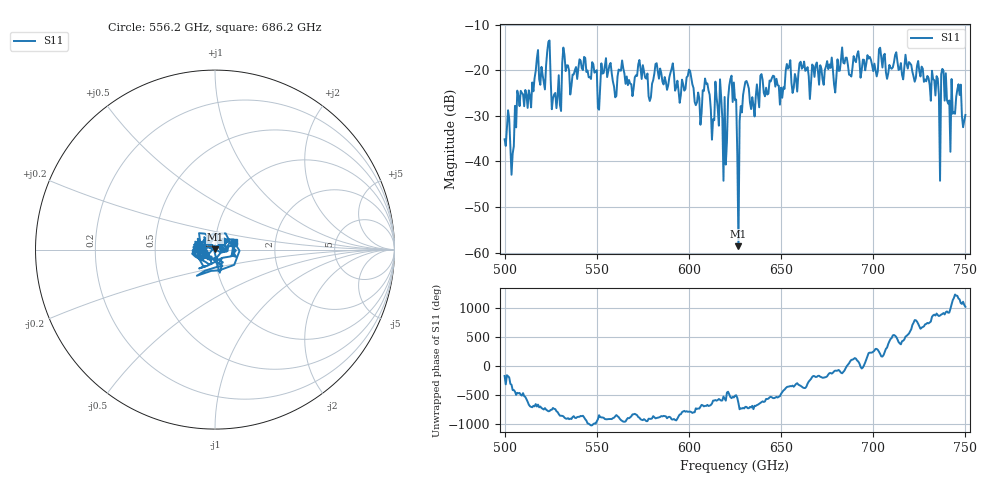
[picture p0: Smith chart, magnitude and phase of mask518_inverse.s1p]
!Created with skrf (http://scikit-rf.org).
# GHz S MA R 50.0
!freq magS11 angS11
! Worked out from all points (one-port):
!   401 points, 500 GHz to 750 GHz, reference 50 ohm
!   lowest |S11| = -58.6 dB at 626.9 GHz (marker M1), VSWR 1.00, Z = 50 + j0.116 ohm
!   |S11| at or under -10 dB: start of sweep to end of sweep
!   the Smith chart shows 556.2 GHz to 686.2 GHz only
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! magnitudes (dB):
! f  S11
! 500 GHz  -35.2
! 503.8 GHz  -42.9
! 508.1 GHz  -27.9
! 517.5 GHz  -17.5
! 523.8 GHz  -13.8
! 526.9 GHz  -25.3
! 531.2 GHz  -18.5
! 562.5 GHz  -20.1
! 593.8 GHz  -22.3
! 605.6 GHz  -26.1
! 610 GHz  -22.9
! 612.5 GHz  -35.3
! 616.2 GHz  -32.2
! 619.4 GHz  -25.9
! 622.5 GHz  -22.0
! 625 GHz  -26.6
! 626.9 GHz  -58.6
! 630.6 GHz  -22.6
! 634.4 GHz  -25.9
! 656.2 GHz  -25.0
! 687.5 GHz  -21.1
! 718.8 GHz  -19.7
! 733.8 GHz  -25.6
! 735 GHz  -21.8
! 738.1 GHz  -20.2
! 743.1 GHz  -29.6
! 746.2 GHz  -23.1
! 750 GHz  -29.8
